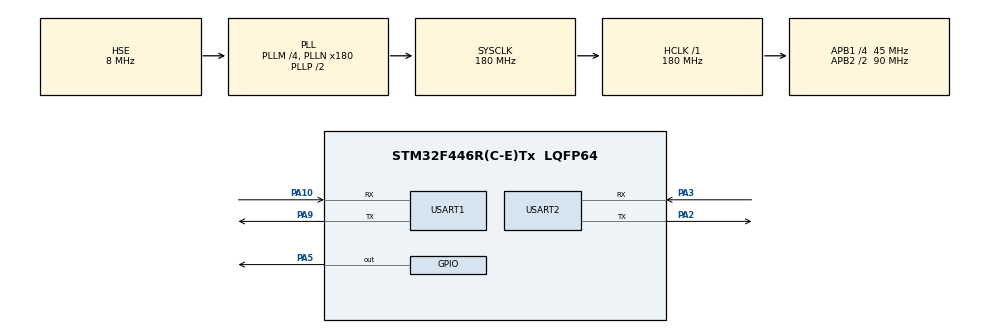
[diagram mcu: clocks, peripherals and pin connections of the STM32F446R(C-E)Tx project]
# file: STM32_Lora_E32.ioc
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Mcu.Family=STM32F4
Mcu.Name=STM32F446R(C-E)Tx
Mcu.Package=LQFP64
NVIC.PriorityGroup=NVIC_PRIORITYGROUP_0
PA10.GPIO_PuPd=GPIO_PULLDOWN
PA10.Mode=Asynchronous
PA10.Signal=USART1_RX
PA13.Mode=Serial_Wire
PA13.Signal=SYS_JTMS-SWDIO
PA14.Mode=Serial_Wire
PA14.Signal=SYS_JTCK-SWCLK
PA2.Mode=Asynchronous
PA2.Signal=USART2_TX
PA3.Mode=Asynchronous
PA3.Signal=USART2_RX
PA5.Signal=GPIO_Output
PA9.GPIO_PuPd=GPIO_PULLDOWN
PA9.Mode=Asynchronous
PA9.Signal=USART1_TX
PC14-OSC32_IN.Mode=LSE-External-Oscillator
PC14-OSC32_IN.Signal=RCC_OSC32_IN
PC15-OSC32_OUT.Mode=LSE-External-Oscillator
PC15-OSC32_OUT.Signal=RCC_OSC32_OUT
PH0-OSC_IN.Mode=HSE-External-Oscillator
PH0-OSC_IN.Signal=RCC_OSC_IN
PH1-OSC_OUT.Mode=HSE-External-Oscillator
PH1-OSC_OUT.Signal=RCC_OSC_OUT
ProjectManager.HeapSize=0x200
ProjectManager.StackSize=0x400
ProjectManager.TargetToolchain=Makefile
RCC.48MHZClocksFreq_Value=84000000
RCC.AHBFreq_Value=180000000
RCC.APB1CLKDivider=RCC_HCLK_DIV4
RCC.APB1Freq_Value=45000000
RCC.APB1TimFreq_Value=90000000
RCC.APB2CLKDivider=RCC_HCLK_DIV2
RCC.APB2Freq_Value=90000000
RCC.APB2TimFreq_Value=180000000
RCC.CortexFreq_Value=180000000
RCC.FLatency-AdvancedSettings=FLASH_LATENCY_5
RCC.HCLKFreq_Value=180000000
RCC.HSE_VALUE=8000000
RCC.HSI_VALUE=16000000
RCC.PLLM=4
RCC.PLLN=180
RCC.PLLSourceVirtual=RCC_PLLSOURCE_HSE
RCC.SYSCLKFreq_VALUE=180000000
RCC.SYSCLKSource=RCC_SYSCLKSOURCE_PLLCLK
RCC.USBFreq_Value=180000000
RCC.VCOOutputFreq_Value=360000000
USART1.VirtualMode=VM_ASYNC
USART2.VirtualMode=VM_ASYNC
board=NUCLEO-F446RE

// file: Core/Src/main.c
/* USER CODE BEGIN Header */
/**
  ******************************************************************************
  * @file           : main.c
  * @brief          : Main program body
  ******************************************************************************
  * @attention
  *
  * Copyright (c) 2023 STMicroelectronics.
  * All rights reserved.
  *
  * This software is licensed under terms that can be found in the LICENSE file
  * in the root directory of this software component.
  * If no LICENSE file comes with this software, it is provided AS-IS.
  *
  ******************************************************************************
  */
/* USER CODE END Header */
#include "main.h"

UART_HandleTypeDef huart1;
UART_HandleTypeDef huart2;

/* USER CODE BEGIN PV */
uint16_t RX_buffer[70];
uint8_t rx_index = 0;
char TX_message[] = "Hello from STM32\n";
char Receive_Message, null;
/* USER CODE END PV */

void SystemClock_Config(void);
static void MX_GPIO_Init(void);
static void MX_USART1_UART_Init(void);
static void MX_USART2_UART_Init(void);

/* USER CODE BEGIN 0 */
void HAL_UART_RxCpltCallback(UART_HandleTypeDef *huart)
{
   if (huart->Instance == USART1) {
    // UART2 received data callback
    if (rx_index < sizeof(RX_buffer) - 1) {
      RX_buffer[rx_index++] = huart->Instance->DR; // Store received character
    }

    if (RX_buffer[rx_index - 1] == '\n') {
      // End of message, process the received data
      RX_buffer[rx_index] = '\0'; // Null-terminate the received message
      int xValue, yValue;

      HAL_UART_Transmit(&huart2, (uint8_t *)RX_buffer, rx_index, HAL_MAX_DELAY);
      if (sscanf(RX_buffer, "X:%d,Y:%d", &xValue, &yValue) == 2) {
        // Process joystick data and control motors
        // processJoystickData(xValue, yValue);

      }
      // Reset the buffer for the next message
      rx_index = 0;
    }

    HAL_UART_Receive_IT(&huart1, (uint8_t *)&RX_buffer[rx_index], 1); // Enable UART interrupt for the next character
  }
}
/* USER CODE END 0 */

int main(void)
{

  /* MCU Configuration--------------------------------------------------------*/

  /* Reset of all peripherals, Initializes the Flash interface and the Systick. */
  HAL_Init();

  /* Configure the system clock */
  SystemClock_Config();

  /* Initialize all configured peripherals */
  MX_GPIO_Init();
  MX_USART1_UART_Init();
  MX_USART2_UART_Init();

  /* Infinite loop */
  /* USER CODE BEGIN WHILE */
  HAL_UART_Transmit(&huart1, TX_message, sizeof(TX_message),10);
  HAL_UART_Receive_IT(&huart1, (uint8_t*)&RX_buffer[rx_index], sizeof(RX_buffer));
  while (1)
  {
    /* USER CODE END WHILE */

  }
}

void SystemClock_Config(void)
{
  RCC_OscInitTypeDef RCC_OscInitStruct = {0};
  RCC_ClkInitTypeDef RCC_ClkInitStruct = {0};

  /** Configure the main internal regulator output voltage
  */
  __HAL_RCC_PWR_CLK_ENABLE();
  __HAL_PWR_VOLTAGESCALING_CONFIG(PWR_REGULATOR_VOLTAGE_SCALE1);

  /** Initializes the RCC Oscillators according to the specified parameters
  * in the RCC_OscInitTypeDef structure.
  */
  RCC_OscInitStruct.OscillatorType = RCC_OSCILLATORTYPE_HSE;
  RCC_OscInitStruct.HSEState = RCC_HSE_ON;
  RCC_OscInitStruct.PLL.PLLState = RCC_PLL_ON;
  RCC_OscInitStruct.PLL.PLLSource = RCC_PLLSOURCE_HSE;
  RCC_OscInitStruct.PLL.PLLM = 4;
  RCC_OscInitStruct.PLL.PLLN = 180;
  RCC_OscInitStruct.PLL.PLLP = RCC_PLLP_DIV2;
  RCC_OscInitStruct.PLL.PLLQ = 2;
  RCC_OscInitStruct.PLL.PLLR = 2;
  if (HAL_RCC_OscConfig(&RCC_OscInitStruct) != HAL_OK)
  {
    Error_Handler();
  }

  /** Activate the Over-Drive mode
  */
  if (HAL_PWREx_EnableOverDrive() != HAL_OK)
  {
    Error_Handler();
  }

  /** Initializes the CPU, AHB and APB buses clocks
  */
  RCC_ClkInitStruct.ClockType = RCC_CLOCKTYPE_HCLK|RCC_CLOCKTYPE_SYSCLK
                              |RCC_CLOCKTYPE_PCLK1|RCC_CLOCKTYPE_PCLK2;
  RCC_ClkInitStruct.SYSCLKSource = RCC_SYSCLKSOURCE_PLLCLK;
  RCC_ClkInitStruct.AHBCLKDivider = RCC_SYSCLK_DIV1;
  RCC_ClkInitStruct.APB1CLKDivider = RCC_HCLK_DIV4;
  RCC_ClkInitStruct.APB2CLKDivider = RCC_HCLK_DIV2;

  if (HAL_RCC_ClockConfig(&RCC_ClkInitStruct, FLASH_LATENCY_5) != HAL_OK)
  {
    Error_Handler();
  }
}

static void MX_USART1_UART_Init(void)
{

  huart1.Instance = USART1;
  huart1.Init.BaudRate = 115200;
  huart1.Init.WordLength = UART_WORDLENGTH_8B;
  huart1.Init.StopBits = UART_STOPBITS_1;
  huart1.Init.Parity = UART_PARITY_NONE;
  huart1.Init.Mode = UART_MODE_TX_RX;
  huart1.Init.HwFlowCtl = UART_HWCONTROL_NONE;
  huart1.Init.OverSampling = UART_OVERSAMPLING_16;
  if (HAL_UART_Init(&huart1) != HAL_OK)
  {
    Error_Handler();
  }

}

static void MX_USART2_UART_Init(void)
{

  huart2.Instance = USART2;
  huart2.Init.BaudRate = 115200;
  huart2.Init.WordLength = UART_WORDLENGTH_8B;
  huart2.Init.StopBits = UART_STOPBITS_1;
  huart2.Init.Parity = UART_PARITY_NONE;
  huart2.Init.Mode = UART_MODE_TX_RX;
  huart2.Init.HwFlowCtl = UART_HWCONTROL_NONE;
  huart2.Init.OverSampling = UART_OVERSAMPLING_16;
  if (HAL_UART_Init(&huart2) != HAL_OK)
  {
    Error_Handler();
  }

}

static void MX_GPIO_Init(void)
{
  GPIO_InitTypeDef GPIO_InitStruct = {0};

  /* GPIO Ports Clock Enable */
  __HAL_RCC_GPIOC_CLK_ENABLE();
  __HAL_RCC_GPIOH_CLK_ENABLE();
  __HAL_RCC_GPIOA_CLK_ENABLE();

  /*Configure GPIO pin Output Level */
  HAL_GPIO_WritePin(GPIOA, GPIO_PIN_5, GPIO_PIN_RESET);

  /*Configure GPIO pin : PA5 */
  GPIO_InitStruct.Pin = GPIO_PIN_5;
  GPIO_InitStruct.Mode = GPIO_MODE_OUTPUT_PP;
  GPIO_InitStruct.Pull = GPIO_NOPULL;
  GPIO_InitStruct.Speed = GPIO_SPEED_FREQ_LOW;
  HAL_GPIO_Init(GPIOA, &GPIO_InitStruct);

}

void Error_Handler(void)
{
  __disable_irq();
  while (1)
  {
  }
}
